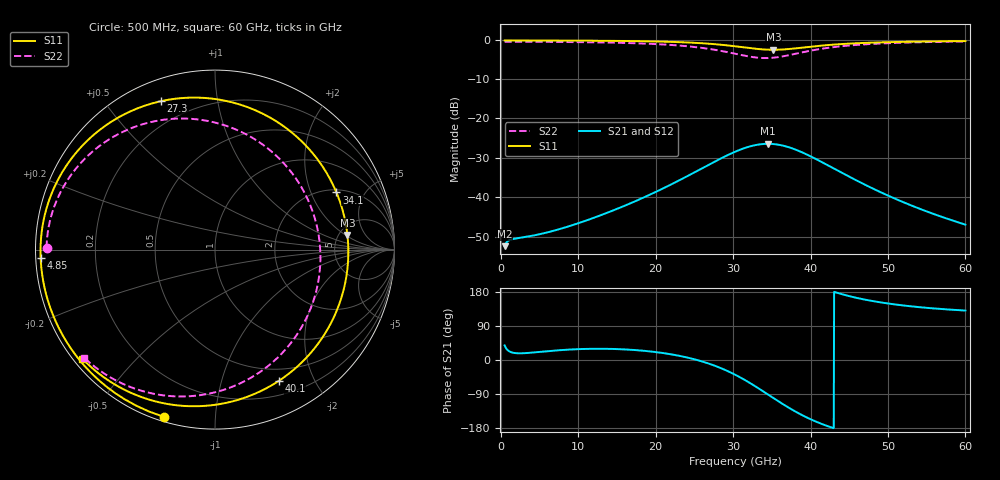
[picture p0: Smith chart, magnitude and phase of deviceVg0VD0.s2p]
! Created Mon Feb 12 23:46:59 2024
# hz S ma R 50
! 2 Port Network Data from SP1.SP block
! freq  magS11  angS11  magS21  angS21  magS12  angS12  magS22  angS22
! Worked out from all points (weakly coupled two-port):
!   1191 points, 500 MHz to 60 GHz, reference 50 ohm
!   highest |S21| = -26.42 dB at 34.5 GHz (marker M1); lowest = -52.4 dB at 500 MHz (marker M2)
!   lowest |S11| = -2.6 dB at 35.2 GHz (marker M3), VSWR 6.76, Z = 297 + j108 ohm
!   |S11| at or under -10 dB: nowhere
!   |S22| runs from -4.7 to -0.5 dB; largest |S21 - S12| = 3e-09
!   S11 on the Smith chart (normalised r, x): 500 MHz: 0.02, -0.74; 4.85 GHz: 0.01, -0.02; 27.3 GHz: 0.10, +0.70; 34.1 GHz: 2.14, +3.09; 40.1 GHz: 0.36, -1.54; 60 GHz: 0.02, -0.36
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5e8  0.9743 -107.0  0.002409 38.6  0.002409 38.6  0.9384 179.3
1e9  0.9737 -140.2  0.002829 24.2  0.002829 24.2  0.9383 178.7
1.55e9  0.9735 -154.8  0.002958 19.3  0.002958 19.3  0.9382 177.9
2.75e9  0.9732 -168.0  0.003101 17.8  0.003101 17.8  0.9377 176.3
4.85e9  0.9726 -177.3  0.003386 21.0  0.003386 21.0  0.9362 173.5
1.045e10  0.9687 169.9  0.004864 29.0  0.004864 29.0  0.9269 164.9
1.6e10  0.9596 158.1  0.007834 28.0  0.007834 28.0  0.9061 153.8
2.035e10  0.9445 145.7  0.01215 20.1  0.01215 20.1  0.8735 141.2
2.415e10  0.9187 129.9  0.0187 6.2  0.0187 6.2  0.8219 124.6
2.73e10  0.8798 109.9  0.0273 -12.6  0.0273 -12.6  0.7515 103.6
3.025e10  0.8226 81.6  0.03784 -38.7  0.03784 -38.7  0.6621 73.7
3.215e10  0.7798 56.5  0.04419 -60.3  0.04419 -60.3  0.6081 47.1
3.41e10  0.7478 25.2  0.04763 -85.6  0.04763 -85.6  0.5826 14.7
3.45e10  0.7445 18.4  0.04774 -90.9  0.04774 -90.9  0.5831 7.8
3.52e10  0.7422 6.3  0.04742 -100.3  0.04742 -100.3  0.5889 -4.2
3.725e10  0.7594 -27.3  0.04305 -126.6  0.04305 -126.6  0.6352 -36.2
4.01e10  0.8133 -64.1  0.03281 -157.2  0.03281 -157.2  0.726 -69.6
4.02e10  0.8153 -65.2  0.03244 -158.1  0.03244 -158.1  0.7291 -70.6
4.23e10  0.8528 -84.2  0.02532 -175.1  0.02532 -175.1  0.7867 -87.6
4.495e10  0.8881 -101.3  0.0184 168.8  0.0184 168.8  0.8405 -103.2
5.01e10  0.9275 -121.6  0.01044 148.8  0.01044 148.8  0.9007 -122.2
6e10  0.9568 -140.5  0.004514 130.5  0.004514 130.5  0.9455 -140.5
